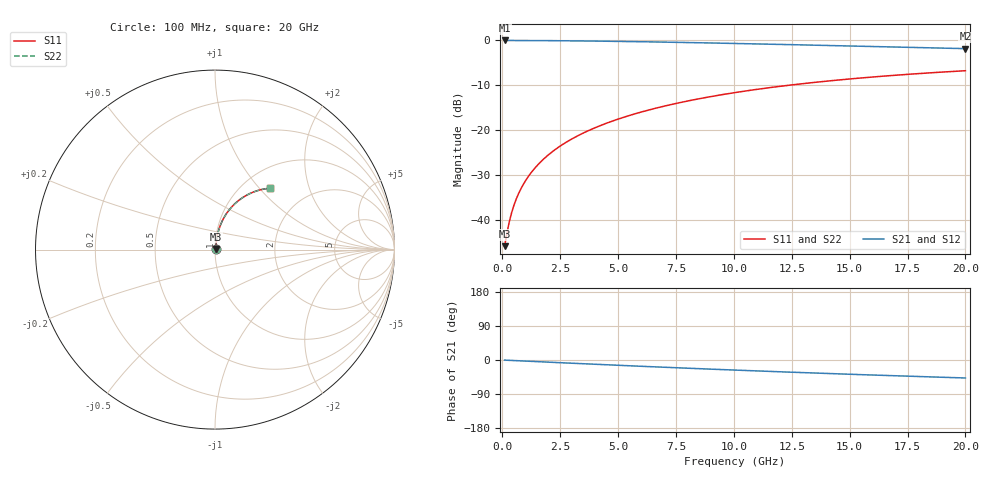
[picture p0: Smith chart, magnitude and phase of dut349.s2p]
! Touchstone file exported from HFSS 2024.1.0
!  File:  C:/UserFiles/LocalFiles/RDL_TSV_Batchsim/temp_RDL_bottom_349_1779612318.aedt
!  Generated:  04:48:15 PM May 24, 2026
!  Design:  RDL_bottom
!  Project:  temp_RDL_bottom_349_1779612318
!  Setup:  Setup1
!  Solution:  Sweep
! Variables:
!  dtsv = 10.80580581um
!  hbump = 3um
!  htsv = 81.09um
!  ldown = 651.65um
!  lrdl = 100um
!  p = 40
!  p1 = 49.83um
!  rhole = 1um
!  t = 450um
!  tdown = 3.25um
!  trdl = 3.915915916um
!  wdown = 17.27um
!  wrdl = 20um
# GHz S MA R 50.000000
! Terminal data exported
! Port[1] = RDL1_T1
! Port[2] = RDL1_T2
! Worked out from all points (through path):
!   200 points, 100 MHz to 20 GHz, reference 50 ohm
!   highest |S21| = -0.04 dB at 100 MHz (marker M1); lowest = -1.9 dB at 20 GHz (marker M2)
!   group delay of S21, straight-line fit = 6.57 ps
!   lowest |S11| = -45.8 dB at 100 MHz (marker M3), VSWR 1.01, Z = 50.4 + j0.285 ohm
!   |S11| at or under -10 dB: start of sweep to 12.39 GHz
!   |S22| runs from -45.8 to -6.8 dB; largest |S21 - S12| = 4.5e-15
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0.1  0.005105 33.6  0.9957 -0.3  0.9957 -0.3  0.005105 33.6
! Gamma 0 0 0 0
! Port Impedance 50 0 50 0
0.2  0.007114 51.9  0.9956 -0.6  0.9956 -0.6  0.007114 51.9
0.3  0.009489 61.3  0.9954 -0.9  0.9954 -0.9  0.009489 61.3
0.4  0.01197 66.6  0.9952 -1.2  0.9952 -1.2  0.01197 66.6
0.5  0.01449 70.0  0.995 -1.5  0.995 -1.5  0.01449 70.0
0.6  0.01702 72.4  0.9948 -1.7  0.9948 -1.7  0.01702 72.4
0.8  0.02211 75.6  0.9944 -2.3  0.9944 -2.3  0.02211 75.6
1.1  0.02982 78.2  0.9937 -3.2  0.9937 -3.2  0.02982 78.2
1.3  0.035 79.2  0.9932 -3.7  0.9932 -3.7  0.035 79.2
1.6  0.04281 80.1  0.9923 -4.6  0.9923 -4.6  0.04281 80.1
2.1  0.0559 80.8  0.9905 -6.0  0.9905 -6.0  0.0559 80.8
2.7  0.0717 80.8  0.9878 -7.7  0.9878 -7.7  0.0717 80.8
3.5  0.09285 80.1  0.9833 -9.9  0.9833 -9.9  0.09285 80.1
4.2  0.1114 79.2  0.9787 -11.8  0.9787 -11.8  0.1114 79.2
5  0.1326 78.0  0.9725 -14.0  0.9725 -14.0  0.1326 78.0
5.9  0.1563 76.4  0.9648 -16.3  0.9648 -16.3  0.1563 76.4
6.8  0.1799 74.7  0.9564 -18.7  0.9564 -18.7  0.1799 74.7
8.4  0.221 71.5  0.9401 -22.7  0.9401 -22.7  0.2209 71.5
10.1  0.263 68.0  0.9215 -26.8  0.9215 -26.8  0.263 67.9
13.4  0.3381 61.0  0.8834 -34.2  0.8834 -34.2  0.3381 61.0
16.7  0.4034 54.4  0.8447 -41.1  0.8447 -41.1  0.4033 54.4
20  0.4584 48.2  0.8073 -47.4  0.8073 -47.4  0.4583 48.2
